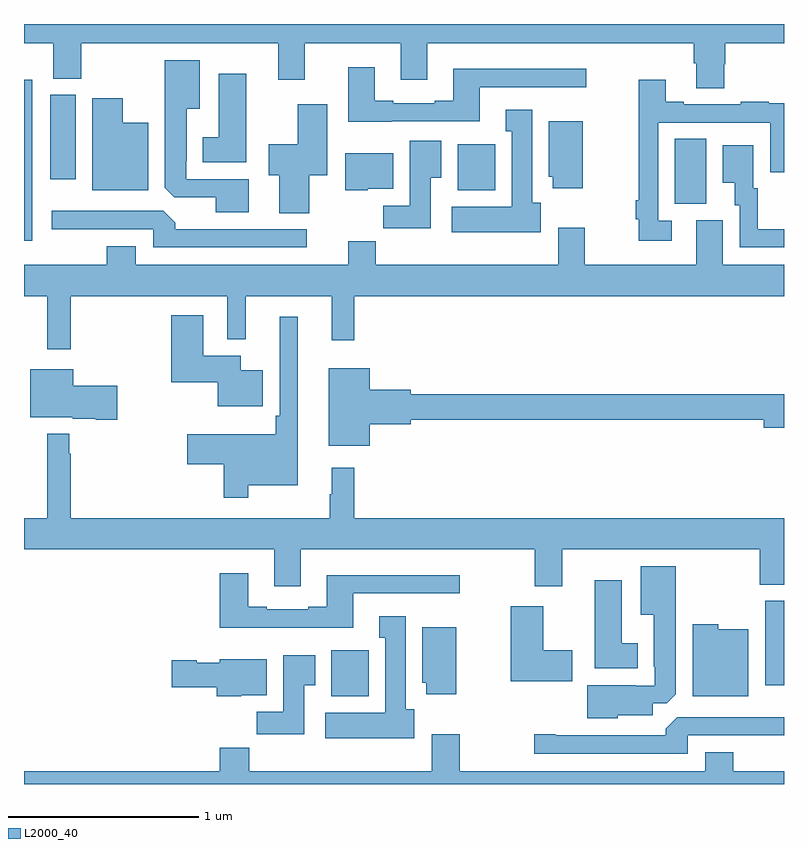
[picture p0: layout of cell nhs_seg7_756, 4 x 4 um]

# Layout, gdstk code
import gdstk
lib = gdstk.Library(unit=1e-6, precision=1e-09)
def R(c, l, rs):  # rectangles x0, y0, x1, y1
    for r in rs: c.add(gdstk.rectangle(r[:2], r[2:], *l))
def P(c, l, *ps):  # polygons
    for p in ps: c.add(gdstk.Polygon(p, *l))
L2000_40 = (2000, 40)

nhs_seg7_756 = lib.new_cell('nhs_seg7_756')
R(nhs_seg7_756, L2000_40, [(168.617,1046.462,168.814,1046.704), (170.9,1046.52,171,1046.964), (167,1048.86,167.043,1049.707), (170.426,1049.053,170.59,1049.396), (169.283,1049.126,169.48,1049.368), (167.138,1049.184,167.272,1049.628)])
P(nhs_seg7_756, L2000_40, [(170.685,1049.787),(170.69,1049.787),(170.69,1049.9),(171,1049.9),(171,1050),(167,1050),(167,1049.9),(167.153,1049.9),(167.153,1049.713),(167.301,1049.713),(167.301,1049.9),(168.338,1049.9),(168.338,1049.706),(168.478,1049.706),(168.478,1049.9),(168.983,1049.9),(168.983,1049.706),(169.123,1049.706),(169.123,1049.9),(170.525,1049.9),(170.525,1049.794),(170.537,1049.794),(170.537,1049.662),(170.685,1049.662)],
  [(168.184,1049.184),(167.853,1049.184),(167.853,1049.281),(167.857,1049.281),(167.857,1049.555),(167.926,1049.555),(167.926,1049.809),(167.741,1049.809),(167.741,1049.137),(167.79,1049.088),(168.008,1049.088),(168.008,1049.009),(168.184,1049.009)],
  [(168.935,1049.487),(169.399,1049.487),(169.399,1049.667),(169.96,1049.667),(169.96,1049.764),(169.259,1049.764),(169.259,1049.596),(169.163,1049.596),(169.163,1049.583),(168.943,1049.583),(168.943,1049.596),(168.847,1049.596),(168.847,1049.773),(168.707,1049.773),(168.707,1049.486),(168.935,1049.486)],
  [(168.169,1049.737),(168.026,1049.737),(168.026,1049.404),(167.942,1049.404),(167.942,1049.273),(168.169,1049.273)],
  [(170.41,1048.965),(170.337,1048.965),(170.337,1049.481),(170.928,1049.481),(170.928,1049.22),(171,1049.22),(171,1049.583),(170.921,1049.583),(170.921,1049.59),(170.773,1049.59),(170.773,1049.577),(170.473,1049.577),(170.473,1049.59),(170.377,1049.59),(170.377,1049.707),(170.236,1049.707),(170.236,1049.072),(170.221,1049.072),(170.221,1048.972),(170.236,1048.972),(170.236,1048.86),(170.41,1048.86)],
  [(167.653,1049.479),(167.521,1049.479),(167.521,1049.608),(167.36,1049.608),(167.36,1049.126),(167.653,1049.126)],
  [(168.502,1049.204),(168.595,1049.204),(168.595,1049.578),(168.44,1049.578),(168.44,1049.367),(168.288,1049.367),(168.288,1049.204),(168.344,1049.204),(168.344,1049.005),(168.502,1049.005)],
  [(169.72,1049.058),(169.675,1049.058),(169.675,1049.548),(169.535,1049.548),(169.535,1049.435),(169.568,1049.435),(169.568,1049.038),(169.251,1049.038),(169.251,1048.904),(169.72,1048.904)],
  [(169.942,1049.488),(169.763,1049.488),(169.763,1049.196),(169.784,1049.196),(169.784,1049.136),(169.942,1049.136)],
  [(169.141,1049.192),(169.195,1049.192),(169.195,1049.386),(169.031,1049.386),(169.031,1049.044),(168.892,1049.044),(168.892,1048.926),(169.141,1048.926)],
  [(171,1048.92),(170.863,1048.92),(170.863,1049.136),(170.839,1049.136),(170.839,1049.362),(170.678,1049.362),(170.678,1049.165),(170.741,1049.165),(170.741,1049.046),(170.766,1049.046),(170.766,1048.824),(171,1048.824)],
  [(168.81,1049.132),(168.943,1049.132),(168.943,1049.32),(168.692,1049.32),(168.692,1049.126),(168.81,1049.126)],
  [(168.487,1048.92),(167.795,1048.92),(167.795,1048.954),(167.733,1049.016),(167.145,1049.016),(167.145,1048.92),(167.679,1048.92),(167.679,1048.824),(168.487,1048.824)],
  [(167.245,1048.568),(168.069,1048.568),(168.069,1048.34),(168.167,1048.34),(168.167,1048.568),(168.62,1048.568),(168.62,1048.335),(168.737,1048.335),(168.737,1048.568),(171,1048.568),(171,1048.732),(170.677,1048.732),(170.677,1048.968),(170.537,1048.968),(170.537,1048.732),(169.951,1048.732),(169.951,1048.927),(169.811,1048.927),(169.811,1048.732),(168.851,1048.732),(168.851,1048.856),(168.707,1048.856),(168.707,1048.732),(167.587,1048.732),(167.587,1048.831),(167.435,1048.831),(167.435,1048.732),(167,1048.732),(167,1048.568),(167.123,1048.568),(167.123,1048.287),(167.245,1048.287)],
  [(168.256,1048.177),(168.142,1048.177),(168.142,1048.255),(167.944,1048.255),(167.944,1048.468),(167.774,1048.468),(167.774,1048.115),(168.02,1048.115),(168.02,1047.989),(168.256,1047.989)],
  [(168.181,1047.572),(168.442,1047.572),(168.442,1048.459),(168.345,1048.459),(168.345,1047.937),(168.325,1047.937),(168.325,1047.841),(167.859,1047.841),(167.859,1047.683),(168.052,1047.683),(168.052,1047.507),(168.181,1047.507)],
  [(168.82,1047.893),(169.036,1047.893),(169.036,1047.916),(170.894,1047.916),(170.894,1047.874),(171,1047.874),(171,1048.052),(169.036,1048.052),(169.036,1048.076),(168.82,1048.076),(168.82,1048.189),(168.605,1048.189),(168.605,1047.779),(168.82,1047.779)],
  [(167.491,1048.095),(167.26,1048.095),(167.26,1048.183),(167.033,1048.183),(167.033,1047.929),(167.256,1047.929),(167.256,1047.923),(167.378,1047.923),(167.378,1047.917),(167.491,1047.917)],
  [(168.457,1047.236),(169.687,1047.236),(169.687,1047.042),(169.834,1047.042),(169.834,1047.236),(170.872,1047.236),(170.872,1047.049),(171,1047.049),(171,1047.4),(168.737,1047.4),(168.737,1047.664),(168.62,1047.664),(168.62,1047.524),(168.609,1047.524),(168.609,1047.4),(167.245,1047.4),(167.245,1047.737),(167.237,1047.737),(167.237,1047.844),(167.123,1047.844),(167.123,1047.4),(167,1047.4),(167,1047.236),(168.317,1047.236),(168.317,1047.042),(168.457,1047.042)],
  [(170.124,1046.363),(170.308,1046.363),(170.308,1046.424),(170.382,1046.424),(170.431,1046.473),(170.431,1047.145),(170.246,1047.145),(170.246,1046.891),(170.315,1046.891),(170.315,1046.617),(170.319,1046.617),(170.319,1046.517),(170.219,1046.517),(170.219,1046.521),(169.964,1046.521),(169.964,1046.345),(170.124,1046.345)],
  [(168.733,1047.003),(169.294,1047.003),(169.294,1047.1),(168.593,1047.1),(168.593,1046.932),(168.497,1046.932),(168.497,1046.919),(168.277,1046.919),(168.277,1046.932),(168.181,1046.932),(168.181,1047.109),(168.029,1047.109),(168.029,1046.822),(168.733,1046.822)],
  [(170.23,1046.74),(170.146,1046.74),(170.146,1047.073),(170.003,1047.073),(170.003,1046.609),(170.23,1046.609)],
  [(169.885,1046.703),(169.732,1046.703),(169.732,1046.935),(169.562,1046.935),(169.562,1046.54),(169.885,1046.54)],
  [(169.054,1046.394),(169.009,1046.394),(169.009,1046.884),(168.869,1046.884),(168.869,1046.771),(168.902,1046.771),(168.902,1046.374),(168.585,1046.374),(168.585,1046.24),(169.054,1046.24)],
  [(170.812,1046.815),(170.655,1046.815),(170.655,1046.842),(170.519,1046.842),(170.519,1046.462),(170.812,1046.462)],
  [(169.276,1046.824),(169.097,1046.824),(169.097,1046.532),(169.118,1046.532),(169.118,1046.472),(169.276,1046.472)],
  [(168.475,1046.521),(168.532,1046.521),(168.532,1046.677),(168.365,1046.677),(168.365,1046.38),(168.226,1046.38),(168.226,1046.262),(168.475,1046.262)],
  [(168.144,1046.468),(168.277,1046.468),(168.277,1046.656),(168.03,1046.656),(168.03,1046.638),(167.91,1046.638),(167.91,1046.651),(167.778,1046.651),(167.778,1046.509),(168.014,1046.509),(168.014,1046.462),(168.144,1046.462)],
  [(170.493,1046.256),(171,1046.256),(171,1046.352),(170.439,1046.352),(170.378,1046.29),(170.378,1046.256),(169.798,1046.256),(169.798,1046.261),(169.686,1046.261),(169.686,1046.16),(170.493,1046.16)],
  [(171,1046.068),(170.733,1046.068),(170.733,1046.167),(170.585,1046.167),(170.585,1046.068),(169.293,1046.068),(169.293,1046.263),(169.145,1046.263),(169.145,1046.068),(168.185,1046.068),(168.185,1046.192),(168.029,1046.192),(168.029,1046.068),(167,1046.068),(167,1046),(171,1046)])

lib.write_gds('nhs_seg7_756.gds')
